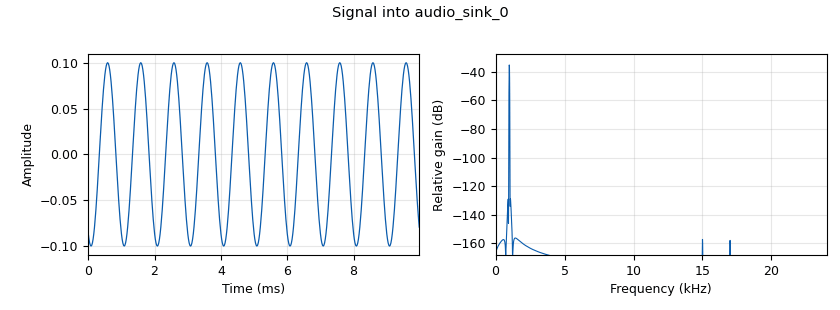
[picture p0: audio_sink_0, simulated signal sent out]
options:
  parameters:
    generate_options: qt_gui
    id: simple_audio_test
    output_language: python
    title: SimpleAudioTest
  states: {}

blocks:
- name: freq_slider
  id: variable_qtgui_range
  parameters:
    orient: Qt.Vertical
    start: 1e3
    step: '100'
    stop: 17e3
    value: 1e3
  states: {}
- name: samp_rate
  id: variable
  parameters:
    value: int(48e3)
  states: {}
- name: analog_noise_source_x_0
  id: analog_noise_source_x
  parameters:
    amp: '0.1'
    noise_type: analog.GR_GAUSSIAN
    seed: '0'
    type: float
  states: {state: disabled}
- name: analog_sig_source_x_0
  id: analog_sig_source_x
  parameters:
    amp: '0.1'
    freq: freq_slider
    offset: '0'
    phase: '0'
    samp_rate: samp_rate
    type: float
    waveform: analog.GR_SIN_WAVE
  states: {}
- name: audio_sink_0
  id: audio_sink
  parameters:
    device_name: pulse
    samp_rate: samp_rate
  states: {}
- name: audio_source_0
  id: audio_source
  parameters:
    device_name: pulse
    samp_rate: samp_rate
  states: {}
- name: qtgui_freq_sink_x_0
  id: qtgui_freq_sink_x
  parameters:
    bw: samp_rate
    fc: '0'
    fftsize: '1024'
    freqhalf: 'False'
    type: float
    wintype: firdes.WIN_HAMMING
  states: {}
- name: qtgui_waterfall_sink_x_0
  id: qtgui_waterfall_sink_x
  parameters:
    bw: samp_rate
    fc: '0'
    fftsize: '1024'
    freqhalf: 'False'
    grid: 'True'
    name: SoundWaterfall
    type: float
    wintype: firdes.WIN_BLACKMAN_hARRIS
  states: {}

connections:
- [analog_noise_source_x_0, '0', audio_sink_0, '0']
- [analog_sig_source_x_0, '0', audio_sink_0, '0']
- [audio_source_0, '0', qtgui_freq_sink_x_0, '0']
- [audio_source_0, '0', qtgui_waterfall_sink_x_0, '0']

metadata:
  file_format: 1
